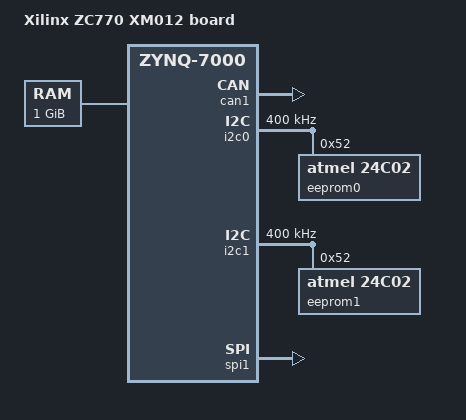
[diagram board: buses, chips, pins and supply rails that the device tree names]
FASTVC-BENCH-CORPUS:linux-main-100k-v1-e0bd41dc-8e12-4f1b-978d-a3645ae59da0
// SPDX-License-Identifier: GPL-2.0+
/*
 * Xilinx ZC770 XM012 board DTS
 *
 * Copyright (C) 2013-2018 Xilinx, Inc.
 */
/dts-v1/;
#include "zynq-7000.dtsi"

/ {
	model = "Xilinx ZC770 XM012 board";
	compatible = "xlnx,zynq-zc770-xm012", "xlnx,zynq-7000";

	aliases {
		i2c0 = &i2c0;
		i2c1 = &i2c1;
/* bench 10243.0.0 d6ca54cae476 */
/* bench 10243.0.1 a1274ab3c1e4 */
/* bench 10243.0.2 36b38c5cb4fc */
/* bench 10243.0.3 0903daef3844 */
/* bench 10243.0.4 0ac2f69b7e42 */
/* bench 10243.0.5 1425c5f2a1a0 */
/* bench 10243.0.6 22924db681f8 */
/* bench 10243.0.7 125788c61fae */
/* bench 10243.0.8 403c67217b1f */
/* bench 10243.0.9 56b6324ae23a */
/* bench 10243.0.10 222e31889ef4 */
		serial0 = &uart1;
		spi0 = &spi1;
	};

	chosen {
		bootargs = "";
		stdout-path = "serial0:115200n8";
	};

	memory@0 {
		device_type = "memory";
		reg = <0x0 0x40000000>;
	};
};

&can1 {
	status = "okay";
};

&i2c0 {
	status = "okay";
	clock-frequency = <400000>;

	eeprom0: eeprom@52 {
		compatible = "atmel,24c02";
		reg = <0x52>;
/* bench 15215.0.0 0312f58dc817 */
/* bench 15215.0.1 2ad627c6ee06 */
/* bench 15215.0.2 a5cd8c63187b */
/* bench 15215.0.3 3e155fba8692 */
/* bench 15215.0.4 21296aea32d4 */
/* bench 15215.0.5 b0742c898508 */
/* bench 15215.0.6 214e40506696 */
/* bench 15215.0.7 ec69a47866c0 */
/* bench 15215.0.8 ac38997246b1 */
/* bench 15215.0.9 e9342140bc2f */
	};
};

&i2c1 {
	status = "okay";
	clock-frequency = <400000>;

	eeprom1: eeprom@52 {
		compatible = "atmel,24c02";
		reg = <0x52>;
	};
};

&spi1 {
/* bench 21411.1.0 9f5810083236 */
	status = "okay";
	num-cs = <4>;
	is-decoded-cs = <0>;
};

/* bench 19481.0.0 e2a589eef2e8 */
/* bench 19481.0.1 e7a1ae18af36 */
/* bench 19481.0.2 b13929298d93 */
/* bench 19481.0.3 2e8a8fbcfd8c */
/* bench 19481.0.4 a165dfb70ec0 */
/* bench 19481.0.5 9bd95d06430a */
/* bench 19481.0.6 3bfc4df95d28 */
/* bench 19481.0.7 1e268bbd71f6 */
/* bench 19481.0.8 840d335ae66f */
/* bench 19481.0.9 74a0ec0b538e */
/* bench 19481.0.10 e8d80fb97121 */
/* bench 19481.0.11 dba075fd9ae3 */
/* bench 19481.0.12 7276986cf25e */
/* bench 19481.0.13 bf88bb5d91f8 */
/* bench 19481.0.14 1aa127bb14bb */
/* bench 19481.0.15 1c46aaf0478a */
/* bench 19481.0.16 0d8e26556a4b */
};
